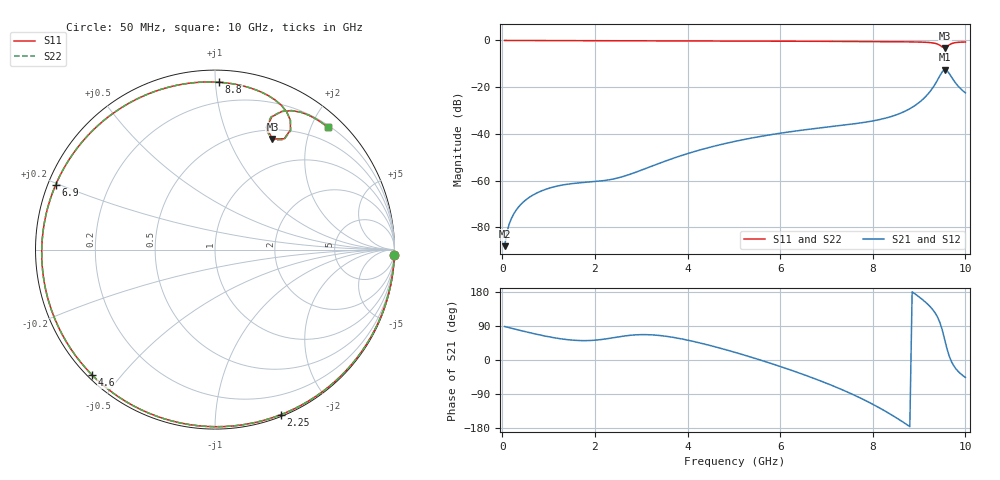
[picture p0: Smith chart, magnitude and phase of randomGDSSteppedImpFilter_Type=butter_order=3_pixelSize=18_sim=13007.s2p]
! freq	dB(S11)	phase(S11)	dB(S12)	phase(S12)
!  dB(S21)	phase(S21)	dB(S22)	phase(S22)
!S-par simulation data
#  GHz  S  DB  R 50
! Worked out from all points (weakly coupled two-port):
!   200 points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, 50 MHz to 10 GHz, reference 50 ohm
!   highest |S21| = -12.51 dB at 9.55 GHz (marker M1); lowest = -88.0 dB at 50 MHz (marker M2)
!   lowest |S11| = -3.2 dB at 9.55 GHz (marker M3), VSWR 5.55, Z = 30.7 + j73.1 ohm
!   |S11| at or under -10 dB: nowhere
!   |S22| runs from -3.2 to 0.0 dB; largest |S21 - S12| = 0
!   S11 on the Smith chart (normalised r, x): 50 MHz: 0, -73; 2.25 GHz: 0.02, -1.47; 4.6 GHz: 0.01, -0.42; 6.9 GHz: 0.02, +0.19; 8.8 GHz: 0.07, +1.02; 10 GHz: 0.23, +2.27
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0.05  -0.00 -1.6  -87.99 88.4  -87.99 88.4  -0.00 -1.6
0.1  -0.00 -3.1  -81.98 86.8  -81.98 86.8  -0.00 -3.1
0.35  -0.02 -10.9  -71.26 79.2  -71.26 79.2  -0.02 -10.9
0.65  -0.03 -20.2  -66.27 70.4  -66.27 70.4  -0.03 -20.2
1.1  -0.04 -34.0  -62.69 59.1  -62.69 59.1  -0.04 -34.0
1.75  -0.07 -53.6  -60.77 51.1  -60.77 51.1  -0.07 -53.6
2.25  -0.09 -68.3  -59.78 55.9  -59.78 55.9  -0.09 -68.3
3.4  -0.13 -101.1  -52.48 64.6  -52.48 64.6  -0.13 -101.1
4.6  -0.19 -134.4  -45.10 34.7  -45.10 34.7  -0.19 -134.4
5.05  -0.22 -146.9  -43.05 19.3  -43.05 19.3  -0.22 -147.0
5.9  -0.28 -171.3  -39.98 -13.0  -39.98 -13.0  -0.28 -171.3
6.7  -0.35 164.4  -37.79 -47.2  -37.79 -47.2  -0.35 164.3
6.9  -0.37 158.0  -37.31 -56.5  -37.31 -56.5  -0.37 157.9
7.6  -0.44 134.4  -35.64 -92.7  -35.64 -92.7  -0.44 134.4
8.35  -0.53 106.8  -32.83 -140.8  -32.83 -140.8  -0.52 106.7
8.8  -0.61 88.7  -29.20 -175.9  -29.20 -175.9  -0.61 88.6
9.15  -0.79 73.1  -23.83 151.4  -23.83 151.4  -0.79 73.0
9.4  -1.56 59.9  -16.86 112.9  -16.86 112.9  -1.58 59.7
9.55  -3.17 62.6  -12.51 55.6  -12.51 55.6  -3.24 62.6
9.6  -2.66 67.0  -12.84 30.8  -12.84 30.8  -2.72 67.3
9.7  -1.36 64.2  -15.65 -4.5  -15.65 -4.5  -1.38 64.4
10  -0.66 47.2  -22.41 -46.0  -22.41 -46.0  -0.66 47.4
